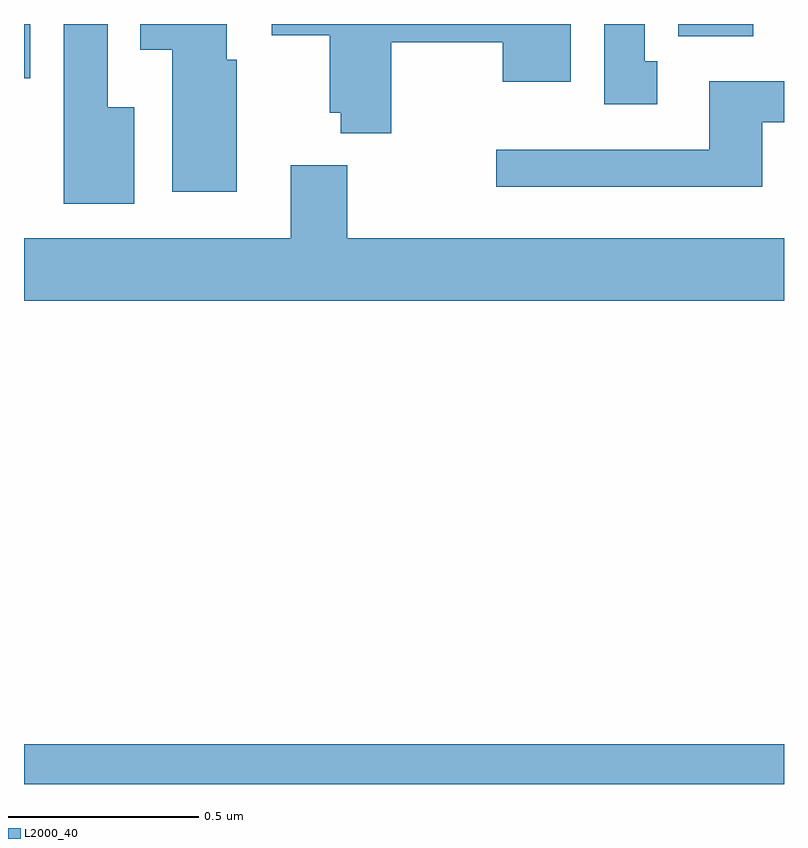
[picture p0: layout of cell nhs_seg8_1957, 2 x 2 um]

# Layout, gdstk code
import gdstk
lib = gdstk.Library(unit=1e-6, precision=1e-09)
def R(c, l, rs):  # rectangles x0, y0, x1, y1
    for r in rs: c.add(gdstk.rectangle(r[:2], r[2:], *l))
def P(c, l, *ps):  # polygons
    for p in ps: c.add(gdstk.Polygon(p, *l))
L2000_40 = (2000, 40)

nhs_seg8_1957 = lib.new_cell('nhs_seg8_1957')
R(nhs_seg8_1957, L2000_40, [(137,1109.9,139,1110.004), (137,1111.757,137.017,1111.9), (138.722,1111.868,138.919,1111.9)])
P(nhs_seg8_1957, L2000_40, [(137.29,1111.681),(137.221,1111.681),(137.221,1111.9),(137.105,1111.9),(137.105,1111.427),(137.29,1111.427)],
  [(137.967,1111.852),(138.26,1111.852),(138.26,1111.748),(138.439,1111.748),(138.439,1111.9),(137.652,1111.9),(137.652,1111.87),(137.804,1111.87),(137.804,1111.667),(137.834,1111.667),(137.834,1111.613),(137.967,1111.613)],
  [(137.56,1111.806),(137.533,1111.806),(137.533,1111.9),(137.306,1111.9),(137.306,1111.832),(137.39,1111.832),(137.39,1111.458),(137.56,1111.458)],
  [(138.667,1111.802),(138.634,1111.802),(138.634,1111.9),(138.527,1111.9),(138.527,1111.689),(138.667,1111.689)],
  [(138.943,1111.641),(139,1111.641),(139,1111.75),(138.803,1111.75),(138.803,1111.569),(138.243,1111.569),(138.243,1111.472),(138.943,1111.472)],
  [(139,1111.336),(137.85,1111.336),(137.85,1111.528),(137.702,1111.528),(137.702,1111.336),(137,1111.336),(137,1111.172),(139,1111.172)])

lib.write_gds('nhs_seg8_1957.gds')
